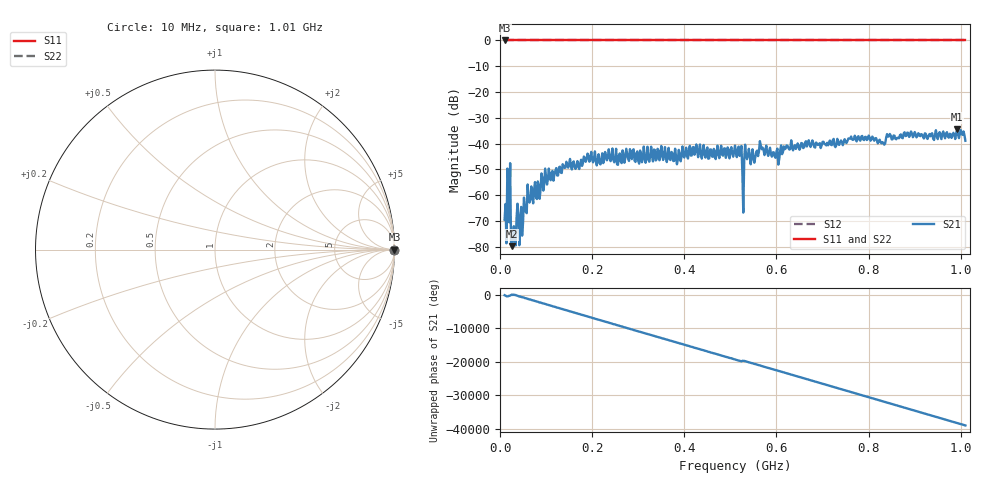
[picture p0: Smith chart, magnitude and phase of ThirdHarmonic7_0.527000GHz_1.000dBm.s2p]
! 8/17/2025 3:36:06 PM
! C:\ANRITSUVNA\TEMP\TEMP.S2P
! CHANNEL.1
! TR.MEASUREMENT
! RAW.DATA
! RF.CORRECTION.OFF
! AVERAGING.OFF
! IF.BANDWIDTH: 5KHZ
! SWEEPTYPE:  FREQ.SWEEP(Linear)
! Reference Plane Port Info
! PORT:  PORT1  PORT2
! DISTANCE:  0  m  0  m
! TIME:  0  s  0  s
! PHASE.OFFSET:  0  deg.  0  deg.
! LOSS:  0  dB  0  dB
! REF.LOSS:  0  dB  0  dB
! REF.FREQ:  0  Hz  0  Hz
! Power Info
! POWER:  -20  dBm  -20  dBm
! EFF.POWER:  -20  dBm  -20  dBm
! SOURCE.ATTEN:  0  dB  0  dB
! TEST.ATTEN:  0  dB  0  dB
# GHZ S RI R 50.0
! FREQ.GHZ  S11RE  S11IM  S21RE  S21IM  S12RE  S12IM  S22RE  S22IM
!; PortSelection: Port_12
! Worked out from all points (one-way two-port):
!   501 points, 10 MHz to 1.01 GHz, reference 50 ohm
!   highest |S21| = -34.40 dB at 992 MHz (marker M1); lowest = -79.8 dB at 26 MHz (marker M2)
!   lowest |S11| = 0.0 dB at 10 MHz (marker M3)
!   |S11| at or under -10 dB: nowhere
!   |S22| runs from 0.0 to 0.0 dB; largest |S21 - S12| = 1
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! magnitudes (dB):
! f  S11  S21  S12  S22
! 10 MHz  0.0  -69.5  0.0  0.0
! 20 MHz  0.0  -70.5  0.0  0.0
! 24 MHz  0.0  -78.9  0.0  0.0
! 26 MHz  0.0  -79.8  0.0  0.0
! 30 MHz  0.0  -72.0  0.0  0.0
! 42 MHz  0.0  -79.4  0.0  0.0
! 46 MHz  0.0  -64.6  0.0  0.0
! 64 MHz  0.0  -62.9  0.0  0.0
! 94 MHz  0.0  -58.2  0.0  0.0
! 178 MHz  0.0  -48.6  0.0  0.0
! 344 MHz  0.0  -42.7  0.0  0.0
! 510 MHz  0.0  -40.8  0.0  0.0
! 520 MHz  0.0  -44.8  0.0  0.0
! 524 MHz  0.0  -40.9  0.0  0.0
! 530 MHz  0.0  -46.3  0.0  0.0
! 536 MHz  0.0  -46.1  0.0  0.0
! 566 MHz  0.0  -40.8  0.0  0.0
! 602 MHz  0.0  -41.9  0.0  0.0
! 678 MHz  0.0  -38.8  0.0  0.0
! 844 MHz  0.0  -37.2  0.0  0.0
! 992 MHz  0.0  -34.4  0.0  0.0
! 1.01 GHz  0.0  -38.9  0.0  0.0
